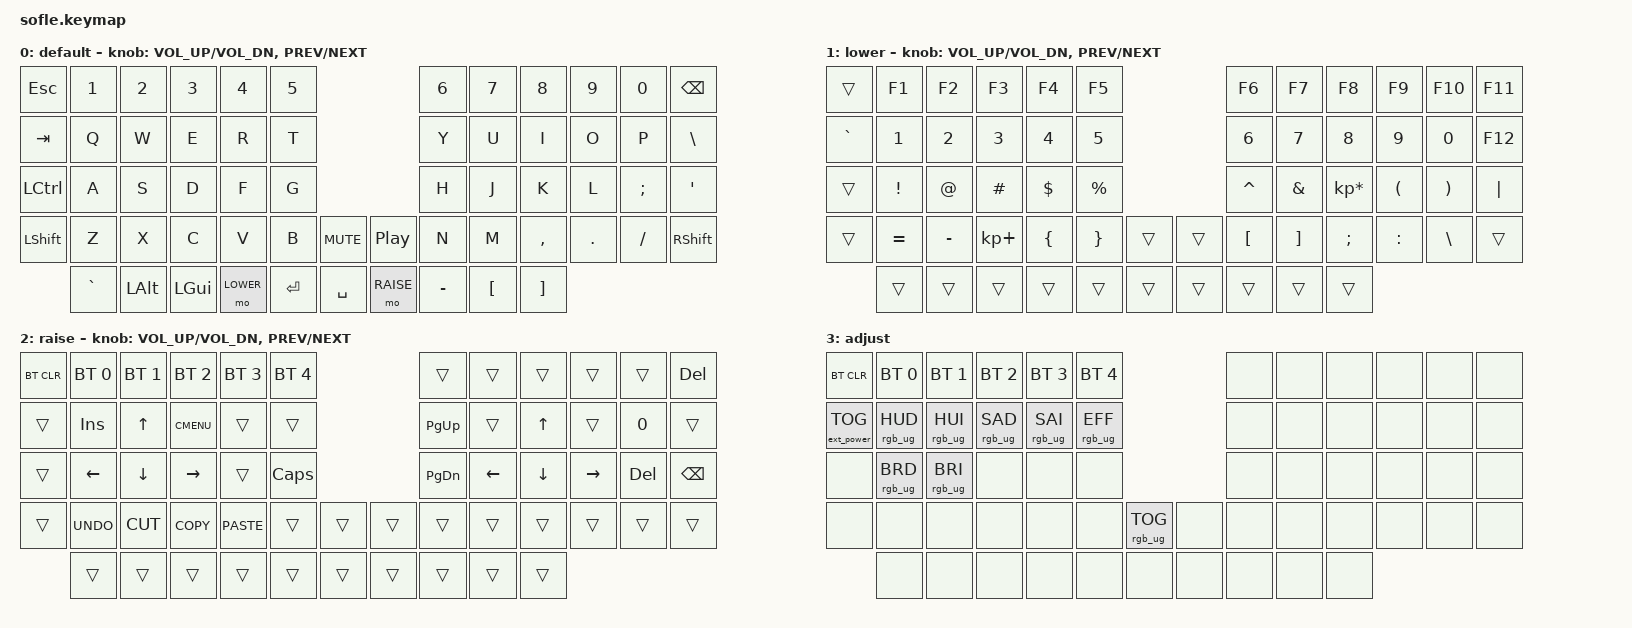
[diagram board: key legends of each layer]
/*
 * Copyright (c) 2020 The ZMK Contributors
 *
 * SPDX-License-Identifier: MIT
 */

#include <behaviors.dtsi>
#include <dt-bindings/zmk/keys.h>
#include <dt-bindings/zmk/bt.h>
#include <dt-bindings/zmk/rgb.h>
#include <dt-bindings/zmk/ext_power.h>

#define BASE 0
#define LOWER 1
#define RAISE 2
#define ADJUST 3

/ {

   // Activate ADJUST layer by pressing raise and lower
    conditional_layers {
        compatible = "zmk,conditional-layers";
        adjust_layer {
            if-layers = <LOWER RAISE>;
            then-layer = <ADJUST>;
        };
    };

    keymap {
        compatible = "zmk,keymap";

        default_layer {
            display-name = "default";
// ------------------------------------------------------------------------------------------------------------
// |  ESC  |  1  |  2  |  3   |  4   |  5   |                   |  6   |  7    |  8    |  9   |   0   | BKSPC |
// |  TAB  |  Q  |  W  |  E   |  R   |  T   |                   |  Y   |  U    |  I    |  O   |   P   |   \   |
// | CTRL  |  A  |  S  |  D   |  F   |  G   |                   |  H   |  J    |  K    |  L   |   ;   |   '   |
// | SHIFT |  Z  |  X  |  C   |  V   |  B   |  MUTE  |  |  PLAY |  N   |  M    |  ,    |  .   |   /   | SHIFT |
//               |  `  | ALT  | GUI  | LOWER|  ENTER |  | SPACE | RAISE|  -    |  [    |  ]   |
            bindings = <
&kp ESC   &kp N1     &kp N2    &kp N3    &kp N4     &kp N5									&kp N6    &kp N7    &kp N8    &kp N9   &kp N0   &kp BSPC
&kp TAB   &kp Q      &kp W     &kp E     &kp R      &kp T                           		&kp Y     &kp U     &kp I     &kp O    &kp P    &kp BSLH
&kp LCTRL &kp A      &kp S     &kp D     &kp F      &kp G                           		&kp H     &kp J     &kp K     &kp L    &kp SEMI &kp SQT
&kp LSHFT &kp Z      &kp X     &kp C     &kp V      &kp B      &kp C_MUTE &kp C_PLAY_PAUSE  &kp N     &kp M     &kp COMMA &kp DOT  &kp FSLH &kp RSHFT
          &kp GRAVE  &kp LALT  &kp LGUI  &mo LOWER  &kp RET    &kp SPACE  &mo RAISE			&kp MINUS &kp LBKT  &kp RBKT
            >;

            sensor-bindings = <&inc_dec_kp C_VOL_UP C_VOL_DN &inc_dec_kp C_PREV C_NEXT>;
        };

        lower_layer {
            display-name = "lower";
// TODO: Some binds are waiting for shifted keycode support.
// ------------------------------------------------------------------------------------------------------------
// |       |  F1 |  F2 |  F3  |  F4  |  F5  |                   |  F6  |  F7   |  F8   |  F9  |  F10  |  F11  |
// |   `   |  1  |  2  |  3   |  4   |  5   |                   |  6   |  7    |  8    |  9   |   0   |  F12  |
// |       |  !  |  @  |  #   |  $   |  %   |                   |  ^   |  &    |  *    |  (   |   )   |   |   |
// |       |  =  |  -  |  +   |  {   |  }   |        |  |       |  [   |  ]    |  ;    |  :   |   \   |       |
//               |     |      |      |      |        |  |       |      |       |       |      |
            bindings = <
&trans    &kp F1    &kp F2    &kp F3      &kp F4    &kp F5                    &kp F6    &kp F7   &kp F8          &kp F9    &kp F10   &kp F11
&kp GRAVE &kp N1    &kp N2    &kp N3      &kp N4    &kp N5                    &kp N6    &kp N7   &kp N8          &kp N9    &kp N0    &kp F12
&trans    &kp EXCL  &kp AT    &kp HASH    &kp DLLR  &kp PRCNT                 &kp CARET &kp AMPS &kp KP_MULTIPLY &kp LPAR  &kp RPAR  &kp PIPE
&trans    &kp EQUAL &kp MINUS &kp KP_PLUS &kp LBRC  &kp RBRC   &trans &trans  &kp LBKT  &kp RBKT &kp SEMI        &kp COLON &kp BSLH  &trans
                    &trans    &trans      &trans    &trans     &trans &trans  &trans    &trans   &trans          &trans
            >;

            sensor-bindings = <&inc_dec_kp C_VOL_UP C_VOL_DN &inc_dec_kp C_PREV C_NEXT>;
        };

        raise_layer {
            display-name = "raise";
// ------------------------------------------------------------------------------------------------------------
// | BTCLR | BT1  | BT2  |  BT3  |  BT4  |  BT5 |                |      |      |       |      |       |  DEL  |
// |       | INS  |   ^  | GUI   |       |      |                | PGUP |      |   ^   |      |       |       |
// |       |  <-  |   v  |   ->  |       | CAPS |                | PGDN |   <- |   v   |  ->  |  DEL  | BKSPC |
// |       | UNDO | CUT  | COPY  | PASTE |      |      |  |      |      |      |       |      |       |       |
//                |      |       |       |      |      |  |      |      |      |       |      |
            bindings = <
&bt BT_CLR &bt BT_SEL 0 &bt BT_SEL 1 &bt BT_SEL 2 &bt BT_SEL 3 &bt BT_SEL 4                  &trans    &trans    &trans   &trans    &trans  &kp DEL
&trans     &kp INS      &kp UP		 &kp K_CMENU  &trans       &trans                        &kp PG_UP &trans    &kp UP   &trans    &kp N0  &trans
&trans     &kp LEFT     &kp DOWN	 &kp RIGHT    &trans       &kp CLCK                      &kp PG_DN &kp LEFT  &kp DOWN &kp RIGHT &kp DEL &kp BSPC
&trans     &kp K_UNDO   &kp K_CUT    &kp K_COPY   &kp K_PASTE  &trans        &trans  &trans  &trans    &trans    &trans   &trans    &trans  &trans
                        &trans       &trans       &trans       &trans        &trans  &trans  &trans    &trans    &trans   &trans
            >;

            sensor-bindings = <&inc_dec_kp C_VOL_UP C_VOL_DN &inc_dec_kp C_PREV C_NEXT>;
        };

        adjust_layer {
// ----------------------------------------------------------------------------------------------------------------------------
// | BTCLR  |  BT1    |  BT2    |   BT3   |   BT4   |   BT5   |                  |      |      |       |      |       |       |
// | EXTPWR | RGB_HUD | RGB_HUI | RGB_SAD | RGB_SAI | RGB_EFF |                  |      |      |       |      |       |       |
// |        | RGB_BRD | RGB_BRI |         |         |         |                  |      |      |       |      |       |       |
// |        |         |         |         |         |         | RGB_TOG | |      |      |      |       |      |       |       |
//                    |         |         |         |         |         | |      |      |      |       |      |
            display-name = "adjust";
            bindings = <
&bt BT_CLR        &bt BT_SEL 0    &bt BT_SEL 1    &bt BT_SEL 2    &bt BT_SEL 3    &bt BT_SEL 4                            &none &none &none &none &none &none
&ext_power EP_TOG &rgb_ug RGB_HUD &rgb_ug RGB_HUI &rgb_ug RGB_SAD &rgb_ug RGB_SAI &rgb_ug RGB_EFF                         &none &none &none &none &none &none
&none             &rgb_ug RGB_BRD &rgb_ug RGB_BRI &none           &none           &none                                   &none &none &none &none &none &none
&none             &none           &none           &none           &none           &none            &rgb_ug RGB_TOG &none  &none &none &none &none &none &none
                                  &none           &none           &none           &none            &none           &none  &none &none &none &none
            >;
        };

    };
};
